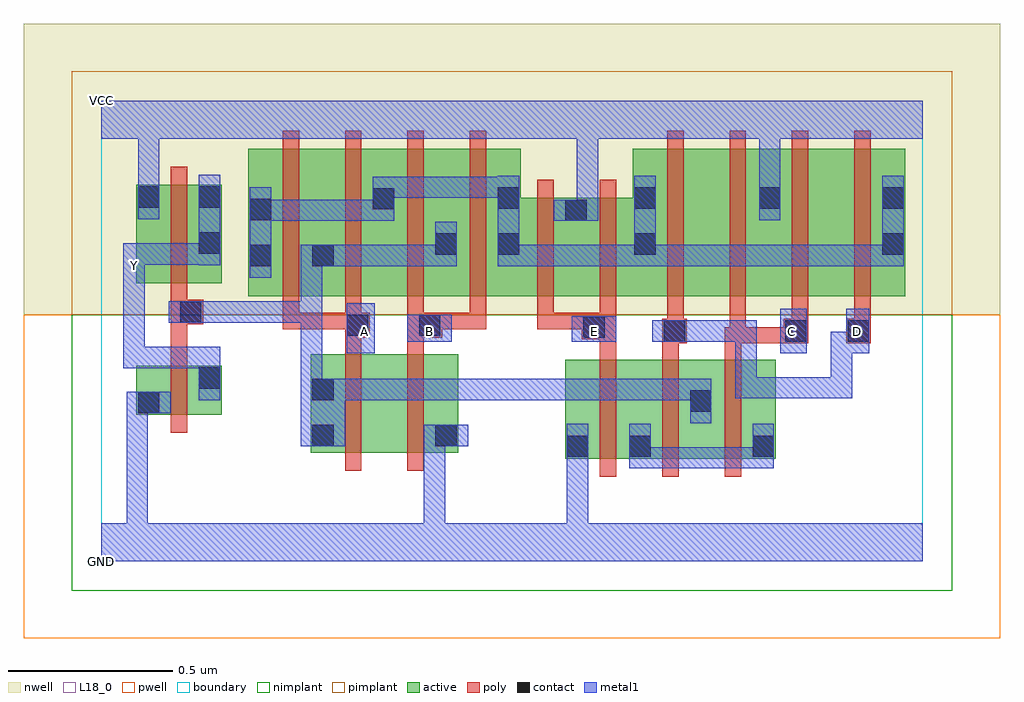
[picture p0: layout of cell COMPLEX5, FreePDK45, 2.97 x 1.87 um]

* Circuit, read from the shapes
.subckt COMPLEX5 A B C D E GND VCC Y
M1 Y n1 GND VSUBS nfet w=0.15u l=0.05u
M2 n2 A n1 VSUBS nfet w=0.3u l=0.05u
M3 GND B n2 VSUBS nfet w=0.3u l=0.05u
M4 n3 E GND VSUBS nfet w=0.3u l=0.05u
M5 n1 D n3 VSUBS nfet w=0.3u l=0.05u
M6 n3 C n1 VSUBS nfet w=0.3u l=0.05u
M7 Y n1 VCC n4 pfet w=0.3u l=0.05u
M8 n1 A n5 n4 pfet w=0.45u l=0.05u m=2
M9 n1 B n5 n4 pfet w=0.45u l=0.05u m=2
M10 VCC E n5 n4 pfet w=0.3u l=0.05u m=2
M11 n6 D n5 n4 pfet w=0.45u l=0.05u
M12 VCC C n6 n4 pfet w=0.45u l=0.05u
M13 n7 C VCC n4 pfet w=0.45u l=0.05u
M14 n5 D n7 n4 pfet w=0.45u l=0.05u
.ends

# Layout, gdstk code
import gdstk
lib = gdstk.Library(unit=1e-6, precision=1e-09)
def R(c, l, rs):  # rectangles x0, y0, x1, y1
    for r in rs: c.add(gdstk.rectangle(r[:2], r[2:], *l))
def A(c, l, x, y, w, h, nx, ny, dx, dy):  # array of equal rectangles
    R(c, l, [(x+i*dx, y+j*dy, x+i*dx+w, y+j*dy+h) for i in range(nx) for j in range(ny)])
active = (1, 0)
pwell = (2, 0)
nwell = (3, 0)
nimplant = (4, 0)
pimplant = (5, 0)
poly = (9, 0)
contact = (10, 0)
metal1 = (11, 0)
L18_0 = (18, 0)
boundary = (235, 0)

complex5 = lib.new_cell('COMPLEX5')
R(complex5, active, [(1.412,0.312,1.487,0.612), (1.412,0.312,1.677,0.612), (1.602,0.312,1.862,0.612), (1.602,0.312,1.677,0.547), (1.787,0.312,2.052,0.612), (1.977,0.312,2.052,0.612), (0.637,0.33,0.862,0.63), (0.862,0.33,1.087,0.63), (1.012,0.33,1.087,0.547), (0.637,0.345,0.712,0.63), (1.787,0.395,1.862,0.525), (0.107,0.445,0.182,0.595), (0.107,0.445,0.367,0.595), (0.292,0.445,0.367,0.595), (0.447,0.805,0.522,1.2), (0.447,0.805,0.712,1.255), (0.637,0.805,0.897,1.255), (0.637,0.805,0.712,1.07), (0.822,0.805,1.087,1.255), (1.012,0.805,1.277,1.255), (1.202,0.805,1.277,1.2), (1.202,0.805,1.482,1.105), (1.407,0.805,1.692,1.105), (1.617,0.805,1.692,1.2), (1.617,0.805,1.842,1.255), (1.842,0.805,2.072,1.255), (1.997,0.805,2.222,1.255), (2.222,0.805,2.447,1.255), (2.372,0.805,2.447,1.2), (0.107,0.845,0.182,1.145), (0.107,0.845,0.367,1.145), (0.292,0.845,0.367,1.145), (0.822,0.857,0.897,1.2), (1.012,0.857,1.087,1.07), (1.997,0.857,2.072,1.255), (1.407,1.007,1.482,1.105)])
R(complex5, pwell, [(-0.235,-0.235,2.735,0.75)])
R(complex5, nwell, [(-0.235,0.75,2.735,1.635)])
R(complex5, nimplant, [(-0.09,-0.09,2.59,0.75)])
R(complex5, pimplant, [(-0.09,0.75,2.59,1.49)])
A(complex5, poly, 1.517, 0.257, 0.05, 0.41, 3, 1, 0.19, 0)
A(complex5, poly, 0.552, 0.705, 0.05, 0.095, 4, 1, 0.19, 0)
A(complex5, poly, 0.552, 0.75, 0.05, 0.56, 4, 1, 0.19, 0)
A(complex5, poly, 1.722, 0.75, 0.05, 0.56, 4, 1, 0.19, 0)
R(complex5, poly, [(0.742,0.275,0.792,0.685), (0.932,0.275,0.982,0.685), (0.212,0.39,0.262,0.65), (0.212,0.6,0.262,0.77), (1.517,0.617,1.567,0.725), (1.707,0.617,1.757,0.712), (1.897,0.617,1.947,0.712), (0.742,0.635,0.792,0.73), (0.932,0.635,0.982,0.73), (1.707,0.662,1.782,0.737), (1.897,0.662,1.962,0.712), (1.912,0.662,2.127,0.712), (1.912,0.662,1.962,0.712), (1.912,0.662,1.962,0.712), (1.912,0.662,1.962,0.8), (2.077,0.662,2.152,0.737), (2.267,0.662,2.342,0.737), (1.462,0.675,1.567,0.755), (0.742,0.68,0.817,0.755), (0.932,0.68,1.037,0.755), (1.722,0.687,1.772,0.8), (2.102,0.687,2.152,0.8), (2.292,0.687,2.342,0.8), (0.552,0.705,0.602,0.755), (0.552,0.705,0.792,0.755), (0.742,0.705,0.792,0.755), (0.742,0.705,0.792,0.755), (0.987,0.705,1.172,0.755), (1.122,0.705,1.172,0.755), (1.122,0.705,1.172,0.755), (1.122,0.705,1.172,0.755), (1.327,0.705,1.377,0.755), (1.327,0.705,1.377,0.8), (1.327,0.705,1.512,0.755), (1.462,0.705,1.512,0.755), (1.462,0.705,1.512,0.755), (1.517,0.705,1.567,0.8), (0.212,0.72,0.31,0.795), (0.212,0.745,0.262,0.84), (1.327,0.75,1.377,1.16), (1.517,0.75,1.567,1.16), (0.212,0.79,0.262,1.2)])
R(complex5, contact, [(1.417,0.317,1.482,0.382), (1.607,0.317,1.672,0.382), (1.982,0.317,2.047,0.382), (0.642,0.35,0.707,0.415), (1.017,0.35,1.082,0.415), (0.112,0.45,0.177,0.515), (1.792,0.455,1.857,0.52), (0.642,0.49,0.707,0.555), (0.297,0.525,0.362,0.59), (1.712,0.667,1.777,0.732), (2.082,0.667,2.147,0.732), (2.272,0.667,2.337,0.732), (1.467,0.68,1.532,0.745), (0.747,0.685,0.812,0.75), (0.967,0.685,1.032,0.75), (0.24,0.725,0.305,0.79), (0.452,0.897,0.517,0.962), (0.642,0.897,0.707,0.962), (1.017,0.932,1.082,0.997), (1.207,0.932,1.272,0.997), (1.622,0.932,1.687,0.997), (2.377,0.932,2.442,0.997), (0.297,0.935,0.362,1), (1.412,1.035,1.477,1.1), (0.452,1.037,0.517,1.102), (0.827,1.07,0.892,1.135), (1.207,1.072,1.272,1.137), (1.622,1.072,1.687,1.137), (2.002,1.072,2.067,1.137), (2.377,1.072,2.442,1.137), (0.112,1.075,0.177,1.14), (0.297,1.075,0.362,1.14)])
R(complex5, metal1, [(0,0,2.5,0.115), (0.077,0.05,0.142,0.115), (0.077,0.05,0.142,0.115), (0.077,0.05,0.142,0.515), (0.982,0.05,1.047,0.415), (1.417,0.05,1.482,0.115), (1.417,0.05,1.482,0.115), (1.417,0.05,1.482,0.115), (1.417,0.05,1.482,0.115), (1.417,0.05,1.482,0.347), (1.417,0.282,1.482,0.417), (1.607,0.282,1.672,0.417), (1.607,0.282,1.857,0.347), (1.792,0.282,1.857,0.347), (1.792,0.282,1.857,0.347), (1.792,0.282,1.857,0.347), (1.792,0.282,1.995,0.347), (1.93,0.282,1.995,0.347), (1.93,0.282,2.047,0.347), (1.982,0.282,2.047,0.417), (0.607,0.35,0.742,0.555), (0.982,0.35,1.047,0.415), (0.982,0.35,1.047,0.415), (0.982,0.35,1.047,0.415), (0.982,0.35,1.047,0.415), (0.982,0.35,1.117,0.415), (1.792,0.42,1.857,0.555), (0.077,0.45,0.142,0.515), (0.077,0.45,0.142,0.515), (0.077,0.45,0.142,0.515), (0.077,0.45,0.142,0.515), (0.077,0.45,0.212,0.515), (0.297,0.49,0.362,0.625), (0.607,0.49,0.672,0.79), (0.677,0.49,0.742,0.555), (0.677,0.49,0.742,0.555), (0.677,0.49,0.91,0.555), (0.845,0.49,0.91,0.555), (0.845,0.49,0.91,0.555), (0.845,0.49,0.91,0.555), (0.845,0.49,1.135,0.555), (1.07,0.49,1.135,0.555), (1.07,0.49,1.135,0.555), (1.07,0.49,1.135,0.555), (1.07,0.49,1.272,0.555), (1.207,0.49,1.272,0.555), (1.207,0.49,1.272,0.555), (1.207,0.49,1.272,0.555), (1.207,0.49,1.41,0.555), (1.345,0.49,1.41,0.555), (1.345,0.49,1.547,0.555), (1.482,0.49,1.547,0.555), (1.482,0.49,1.547,0.555), (1.482,0.49,1.547,0.555), (1.482,0.49,1.857,0.555), (1.792,0.49,1.857,0.555), (1.792,0.49,1.857,0.555), (1.93,0.495,1.995,0.56), (1.93,0.495,2.132,0.56), (1.93,0.495,1.995,0.732), (2.067,0.495,2.132,0.56), (2.067,0.495,2.285,0.56), (2.22,0.495,2.285,0.56), (2.22,0.495,2.285,0.697), (0.297,0.56,0.362,0.625), (0.297,0.56,0.362,0.652), (0.067,0.587,0.132,0.652), (0.067,0.587,0.362,0.652), (0.067,0.587,0.132,0.897), (0.747,0.632,0.832,0.785), (2.067,0.632,2.147,0.767), (2.22,0.632,2.285,0.697), (2.22,0.632,2.332,0.697), (2.267,0.632,2.337,0.767), (0.932,0.667,1.067,0.75), (1.432,0.667,1.567,0.745), (1.677,0.667,1.812,0.732), (1.747,0.667,1.825,0.732), (1.76,0.667,1.825,0.732), (1.76,0.667,1.995,0.732), (1.93,0.667,1.995,0.732), (1.93,0.667,1.995,0.732), (1.93,0.667,1.995,0.732), (0.205,0.725,0.34,0.79), (0.275,0.725,0.34,0.79), (0.275,0.725,0.34,0.79), (0.275,0.725,0.5,0.79), (0.435,0.725,0.5,0.79), (0.435,0.725,0.5,0.79), (0.435,0.725,0.5,0.79), (0.435,0.725,0.672,0.79), (0.607,0.725,0.672,0.79), (0.607,0.725,0.672,0.962), (0.067,0.832,0.132,0.967), (0.452,0.862,0.517,1.137), (0.607,0.897,0.742,0.962), (0.677,0.897,0.742,0.962), (0.677,0.897,0.742,0.962), (0.677,0.897,0.91,0.962), (0.845,0.897,0.91,0.962), (0.845,0.897,0.91,0.962), (0.845,0.897,0.91,0.962), (0.845,0.897,1.082,0.962), (1.017,0.897,1.082,1.032), (1.207,0.897,1.272,0.962), (1.207,0.897,1.272,0.962), (1.207,0.897,1.272,0.962), (1.207,0.897,1.272,0.962), (1.207,0.897,1.272,1.172), (1.207,0.897,1.41,0.962), (1.345,0.897,1.41,0.962), (1.345,0.897,1.41,0.962), (1.345,0.897,1.41,0.962), (1.345,0.897,1.687,0.962), (1.622,0.897,1.687,1.172), (1.622,0.897,1.825,0.962), (1.76,0.897,1.825,0.962), (1.76,0.897,1.825,0.962), (1.76,0.897,1.825,0.962), (1.76,0.897,1.995,0.962), (1.93,0.897,1.995,0.962), (1.93,0.897,1.995,0.962), (1.93,0.897,1.995,0.962), (1.93,0.897,2.195,0.962), (2.13,0.897,2.195,0.962), (2.13,0.897,2.195,0.962), (2.13,0.897,2.195,0.962), (2.13,0.897,2.442,0.962), (2.377,0.897,2.442,0.962), (2.377,0.897,2.442,0.962), (2.377,0.897,2.442,1.172), (0.297,0.9,0.362,1.175), (0.067,0.902,0.132,0.967), (0.067,0.902,0.132,0.967), (0.067,0.902,0.362,0.967), (0.297,0.902,0.362,0.967), (0.297,0.902,0.362,0.967), (0.452,1.035,0.517,1.1), (0.452,1.035,0.517,1.1), (0.452,1.035,0.755,1.1), (0.69,1.035,0.755,1.1), (0.69,1.035,0.755,1.1), (0.69,1.035,0.755,1.1), (0.69,1.035,0.892,1.1), (0.827,1.035,0.892,1.17), (1.377,1.035,1.512,1.1), (1.447,1.035,1.512,1.35), (2.002,1.037,2.067,1.172), (0.112,1.04,0.177,1.175), (0.827,1.105,0.892,1.17), (0.827,1.105,0.892,1.17), (0.827,1.105,1.135,1.17), (1.07,1.105,1.135,1.17), (1.07,1.105,1.135,1.17), (1.07,1.105,1.135,1.17), (1.07,1.105,1.272,1.17), (2.002,1.107,2.067,1.35), (0.112,1.11,0.177,1.175), (0.112,1.11,0.177,1.175), (0.112,1.11,0.177,1.35), (0,1.285,2.5,1.4), (1.447,1.285,1.512,1.35), (1.447,1.285,1.512,1.35)])
R(complex5, L18_0, [(0,0,2.5,0.115), (0.077,0.05,0.142,0.115), (0.077,0.05,0.142,0.115), (0.077,0.05,0.142,0.515), (0.982,0.05,1.047,0.415), (1.417,0.05,1.482,0.115), (1.417,0.05,1.482,0.115), (1.417,0.05,1.482,0.115), (1.417,0.05,1.482,0.115), (1.417,0.05,1.482,0.347), (1.417,0.282,1.482,0.417), (0.982,0.35,1.047,0.415), (0.982,0.35,1.047,0.415), (0.982,0.35,1.047,0.415), (0.982,0.35,1.047,0.415), (0.982,0.35,1.117,0.415), (0.077,0.45,0.142,0.515), (0.077,0.45,0.142,0.515), (0.077,0.45,0.142,0.515), (0.077,0.45,0.142,0.515), (0.077,0.45,0.212,0.515), (0.297,0.49,0.362,0.625), (1.93,0.495,1.995,0.56), (1.93,0.495,1.995,0.732), (1.93,0.495,2.132,0.56), (2.067,0.495,2.132,0.56), (2.067,0.495,2.285,0.56), (2.22,0.495,2.285,0.56), (2.22,0.495,2.285,0.697), (0.297,0.56,0.362,0.625), (0.297,0.56,0.362,0.652), (0.067,0.587,0.132,0.652), (0.067,0.587,0.132,0.897), (0.067,0.587,0.362,0.652), (0.747,0.632,0.832,0.785), (2.067,0.632,2.147,0.767), (2.22,0.632,2.285,0.697), (2.22,0.632,2.332,0.697), (2.267,0.632,2.337,0.767), (0.767,0.667,0.832,0.732), (0.932,0.667,1.067,0.75), (0.967,0.667,1.032,0.732), (1.432,0.667,1.567,0.745), (1.467,0.667,1.532,0.732), (1.677,0.667,1.812,0.732), (1.747,0.667,1.825,0.732), (1.76,0.667,1.825,0.732), (1.76,0.667,1.995,0.732), (1.93,0.667,1.995,0.732), (1.93,0.667,1.995,0.732), (1.93,0.667,1.995,0.732), (2.067,0.667,2.132,0.732), (2.267,0.667,2.332,0.732), (0.067,0.832,0.132,0.967), (0.067,0.867,0.132,0.932), (0.297,0.9,0.362,1.175), (0.067,0.902,0.132,0.967), (0.067,0.902,0.132,0.967), (0.067,0.902,0.362,0.967), (0.297,0.902,0.362,0.967), (0.297,0.902,0.362,0.967), (1.377,1.035,1.512,1.1), (1.447,1.035,1.512,1.35), (2.002,1.037,2.067,1.172), (0.112,1.04,0.177,1.175), (2.002,1.107,2.067,1.35), (0.112,1.11,0.177,1.175), (0.112,1.11,0.177,1.175), (0.112,1.11,0.177,1.35), (0,1.285,2.5,1.4), (1.447,1.285,1.512,1.35), (1.447,1.285,1.512,1.35)])
R(complex5, boundary, [(0,0,2.5,1.4)])
complex5.add(gdstk.Label('A', (0.8,0.7), layer=11, texttype=0))
complex5.add(gdstk.Label('B', (1,0.7), layer=11, texttype=0))
complex5.add(gdstk.Label('C', (2.1,0.7), layer=11, texttype=0))
complex5.add(gdstk.Label('D', (2.3,0.7), layer=11, texttype=0))
complex5.add(gdstk.Label('E', (1.5,0.7), layer=11, texttype=0))
complex5.add(gdstk.Label('Y', (0.1,0.9), layer=11, texttype=0))
complex5.add(gdstk.Label('VCC', (0,1.4), layer=11, texttype=0))
complex5.add(gdstk.Label('GND', (0,0), layer=11, texttype=0))

lib.write_gds('COMPLEX5.gds')
